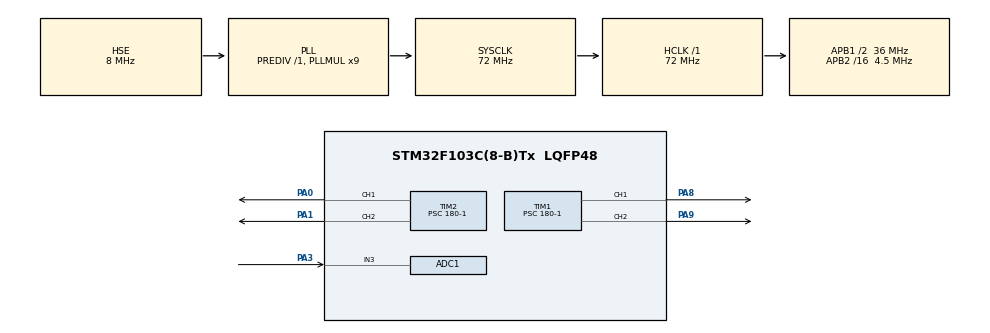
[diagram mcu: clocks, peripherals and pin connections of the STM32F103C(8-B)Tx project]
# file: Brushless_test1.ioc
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ADC1.Channel-0\#ChannelRegularConversion=ADC_CHANNEL_3
ADC1.ContinuousConvMode=ENABLE
ADC1.NbrOfConversion=1
ADC1.NbrOfConversionFlag=1
ADC1.Rank-0\#ChannelRegularConversion=1
ADC1.SamplingTime-0\#ChannelRegularConversion=ADC_SAMPLETIME_239CYCLES_5
ADC1.master=1
Dma.ADC1.0.Direction=DMA_PERIPH_TO_MEMORY
Dma.ADC1.0.Instance=DMA1_Channel1
Dma.ADC1.0.MemDataAlignment=DMA_MDATAALIGN_HALFWORD
Dma.ADC1.0.MemInc=DMA_MINC_ENABLE
Dma.ADC1.0.Mode=DMA_CIRCULAR
Dma.ADC1.0.PeriphDataAlignment=DMA_PDATAALIGN_HALFWORD
Dma.ADC1.0.PeriphInc=DMA_PINC_DISABLE
Dma.ADC1.0.Priority=DMA_PRIORITY_LOW
Dma.Request0=ADC1
Mcu.Family=STM32F1
Mcu.Name=STM32F103C(8-B)Tx
Mcu.Package=LQFP48
NVIC.DMA1_Channel1_IRQn=true\:0\:0\:false\:false\:true\:false\:true\:true
NVIC.PriorityGroup=NVIC_PRIORITYGROUP_4
NVIC.TIM4_IRQn=true\:0\:0\:false\:false\:true\:true\:true\:true
PA0-WKUP.Signal=S_TIM2_CH1_ETR
PA1.Signal=S_TIM2_CH2
PA13.Mode=Serial_Wire
PA13.Signal=SYS_JTMS-SWDIO
PA14.Mode=Serial_Wire
PA14.Signal=SYS_JTCK-SWCLK
PA3.Signal=ADCx_IN3
PA8.Signal=S_TIM1_CH1
PA9.Signal=S_TIM1_CH2
PD0-OSC_IN.Mode=HSE-External-Oscillator
PD0-OSC_IN.Signal=RCC_OSC_IN
PD1-OSC_OUT.Mode=HSE-External-Oscillator
PD1-OSC_OUT.Signal=RCC_OSC_OUT
ProjectManager.HeapSize=0x200
ProjectManager.StackSize=0x400
ProjectManager.TargetToolchain=STM32CubeIDE
RCC.AHBFreq_Value=72000000
RCC.APB1CLKDivider=RCC_HCLK_DIV2
RCC.APB1Freq_Value=36000000
RCC.APB1TimFreq_Value=72000000
RCC.APB2CLKDivider=RCC_HCLK_DIV16
RCC.APB2Freq_Value=4500000
RCC.APB2TimFreq_Value=9000000
RCC.HCLKFreq_Value=72000000
RCC.PLLMUL=RCC_PLL_MUL9
RCC.PLLSourceVirtual=RCC_PLLSOURCE_HSE
RCC.SYSCLKFreq_VALUE=72000000
RCC.SYSCLKSource=RCC_SYSCLKSOURCE_PLLCLK
RCC.USBFreq_Value=72000000
SH.ADCx_IN3.0=ADC1_IN3,IN3
SH.S_TIM1_CH1.0=TIM1_CH1,PWM Generation1 CH1
SH.S_TIM1_CH2.0=TIM1_CH2,PWM Generation2 CH2
SH.S_TIM2_CH1_ETR.0=TIM2_CH1,PWM Generation1 CH1
SH.S_TIM2_CH2.0=TIM2_CH2,PWM Generation2 CH2
TIM1.Channel-PWM\ Generation1\ CH1=TIM_CHANNEL_1
TIM1.Channel-PWM\ Generation2\ CH2=TIM_CHANNEL_2
TIM1.Period=1000-1
TIM1.Prescaler=180-1
TIM2.Channel-PWM\ Generation1\ CH1=TIM_CHANNEL_1
TIM2.Channel-PWM\ Generation2\ CH2=TIM_CHANNEL_2
TIM2.Period=1000-1
TIM2.Prescaler=180-1
TIM4.Period=9999
TIM4.Prescaler=71
VP_TIM4_VS_ClockSourceINT.Mode=Internal
board=custom

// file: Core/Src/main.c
/* USER CODE BEGIN Header */
/**
  ******************************************************************************
  * @file           : main.c
  * @brief          : Main program body
  ******************************************************************************
  * @attention
  *
  * Copyright (c) 2023 STMicroelectronics.
  * All rights reserved.
  *
  * This software is licensed under terms that can be found in the LICENSE file
  * in the root directory of this software component.
  * If no LICENSE file comes with this software, it is provided AS-IS.
  *
  ******************************************************************************
  */
/* USER CODE END Header */
#include "main.h"

/* USER CODE BEGIN PTD */
#define Calibrate 1
/* USER CODE END PTD */

ADC_HandleTypeDef hadc1;
DMA_HandleTypeDef hdma_adc1;

TIM_HandleTypeDef htim1;
TIM_HandleTypeDef htim2;
TIM_HandleTypeDef htim4;

void SystemClock_Config(void);
static void MX_GPIO_Init(void);
static void MX_DMA_Init(void);
static void MX_ADC1_Init(void);
static void MX_TIM1_Init(void);
static void MX_TIM2_Init(void);
static void MX_TIM4_Init(void);

/* USER CODE BEGIN 0 */
uint16_t ADC_Data=0;
int ADC_Converted = 0;
uint16_t speed;
long map(long x, long in_min, long in_max, long out_min, long out_max)
{
  return (x - in_min) * (out_max - out_min + 1) / (in_max - in_min + 1) + out_min;
}
void HAL_ADC_ConvCpltCallback(ADC_HandleTypeDef* hadc)
{
	ADC_Converted = map(ADC_Data, 0, 4095, 50, 100);
	TIM2->CCR1 = ADC_Converted;
	TIM2->CCR2 = 0;
}
/* USER CODE END 0 */

int main(void)
{

  /* MCU Configuration--------------------------------------------------------*/

  /* Reset of all peripherals, Initializes the Flash interface and the Systick. */
  HAL_Init();

  /* Configure the system clock */
  SystemClock_Config();

  /* Initialize all configured peripherals */
  MX_GPIO_Init();
  MX_DMA_Init();
  MX_ADC1_Init();
  MX_TIM1_Init();
  MX_TIM2_Init();
  MX_TIM4_Init();
  /* USER CODE BEGIN 2 */
  HAL_TIM_PWM_Start(&htim1, TIM_CHANNEL_1);
  HAL_TIM_PWM_Start(&htim1, TIM_CHANNEL_2);
  HAL_TIM_PWM_Start(&htim2, TIM_CHANNEL_1);
  HAL_TIM_PWM_Start(&htim2, TIM_CHANNEL_2);
  HAL_TIM_Base_Start_IT(&htim4);
#if Calibrate
  TIM2->CCR1 = 100;  // Set the maximum pulse (2ms)
  HAL_Delay (2000);  // wait for 1 beep
  TIM2->CCR1 = 50;   // Set the minimum Pulse (1ms)
  HAL_Delay (1000);  // wait for 2 beeps
  TIM2->CCR1 = 0;    // reset to 0, so it can be controlled via ADC
#endif
//  HAL_ADCEx_Calibration_Start(&hadc1);
  HAL_ADC_Start_DMA(&hadc1, (uint32_t *)&ADC_Data, 1);
  /* USER CODE END 2 */

  /* Infinite loop */
  while (1)
  {

  }
}

void SystemClock_Config(void)
{
  RCC_OscInitTypeDef RCC_OscInitStruct = {0};
  RCC_ClkInitTypeDef RCC_ClkInitStruct = {0};
  RCC_PeriphCLKInitTypeDef PeriphClkInit = {0};

  /** Initializes the RCC Oscillators according to the specified parameters
  * in the RCC_OscInitTypeDef structure.
  */
  RCC_OscInitStruct.OscillatorType = RCC_OSCILLATORTYPE_HSE;
  RCC_OscInitStruct.HSEState = RCC_HSE_ON;
  RCC_OscInitStruct.HSEPredivValue = RCC_HSE_PREDIV_DIV1;
  RCC_OscInitStruct.HSIState = RCC_HSI_ON;
  RCC_OscInitStruct.PLL.PLLState = RCC_PLL_ON;
  RCC_OscInitStruct.PLL.PLLSource = RCC_PLLSOURCE_HSE;
  RCC_OscInitStruct.PLL.PLLMUL = RCC_PLL_MUL9;
  if (HAL_RCC_OscConfig(&RCC_OscInitStruct) != HAL_OK)
  {
    Error_Handler();
  }

  /** Initializes the CPU, AHB and APB buses clocks
  */
  RCC_ClkInitStruct.ClockType = RCC_CLOCKTYPE_HCLK|RCC_CLOCKTYPE_SYSCLK
                              |RCC_CLOCKTYPE_PCLK1|RCC_CLOCKTYPE_PCLK2;
  RCC_ClkInitStruct.SYSCLKSource = RCC_SYSCLKSOURCE_PLLCLK;
  RCC_ClkInitStruct.AHBCLKDivider = RCC_SYSCLK_DIV1;
  RCC_ClkInitStruct.APB1CLKDivider = RCC_HCLK_DIV2;
  RCC_ClkInitStruct.APB2CLKDivider = RCC_HCLK_DIV16;

  if (HAL_RCC_ClockConfig(&RCC_ClkInitStruct, FLASH_LATENCY_2) != HAL_OK)
  {
    Error_Handler();
  }
  PeriphClkInit.PeriphClockSelection = RCC_PERIPHCLK_ADC;
  PeriphClkInit.AdcClockSelection = RCC_ADCPCLK2_DIV2;
  if (HAL_RCCEx_PeriphCLKConfig(&PeriphClkInit) != HAL_OK)
  {
    Error_Handler();
  }
}

static void MX_ADC1_Init(void)
{

  ADC_ChannelConfTypeDef sConfig = {0};

  /** Common config
  */
  hadc1.Instance = ADC1;
  hadc1.Init.ScanConvMode = ADC_SCAN_DISABLE;
  hadc1.Init.ContinuousConvMode = ENABLE;
  hadc1.Init.DiscontinuousConvMode = DISABLE;
  hadc1.Init.ExternalTrigConv = ADC_SOFTWARE_START;
  hadc1.Init.DataAlign = ADC_DATAALIGN_RIGHT;
  hadc1.Init.NbrOfConversion = 1;
  if (HAL_ADC_Init(&hadc1) != HAL_OK)
  {
    Error_Handler();
  }

  /** Configure Regular Channel
  */
  sConfig.Channel = ADC_CHANNEL_3;
  sConfig.Rank = ADC_REGULAR_RANK_1;
  sConfig.SamplingTime = ADC_SAMPLETIME_239CYCLES_5;
  if (HAL_ADC_ConfigChannel(&hadc1, &sConfig) != HAL_OK)
  {
    Error_Handler();
  }

}

static void MX_TIM1_Init(void)
{

  TIM_MasterConfigTypeDef sMasterConfig = {0};
  TIM_OC_InitTypeDef sConfigOC = {0};
  TIM_BreakDeadTimeConfigTypeDef sBreakDeadTimeConfig = {0};

  htim1.Instance = TIM1;
  htim1.Init.Prescaler = 180-1;
  htim1.Init.CounterMode = TIM_COUNTERMODE_UP;
  htim1.Init.Period = 1000-1;
  htim1.Init.ClockDivision = TIM_CLOCKDIVISION_DIV1;
  htim1.Init.RepetitionCounter = 0;
  htim1.Init.AutoReloadPreload = TIM_AUTORELOAD_PRELOAD_DISABLE;
  if (HAL_TIM_PWM_Init(&htim1) != HAL_OK)
  {
    Error_Handler();
  }
  sMasterConfig.MasterOutputTrigger = TIM_TRGO_RESET;
  sMasterConfig.MasterSlaveMode = TIM_MASTERSLAVEMODE_DISABLE;
  if (HAL_TIMEx_MasterConfigSynchronization(&htim1, &sMasterConfig) != HAL_OK)
  {
    Error_Handler();
  }
  sConfigOC.OCMode = TIM_OCMODE_PWM1;
  sConfigOC.Pulse = 0;
  sConfigOC.OCPolarity = TIM_OCPOLARITY_HIGH;
  sConfigOC.OCNPolarity = TIM_OCNPOLARITY_HIGH;
  sConfigOC.OCFastMode = TIM_OCFAST_DISABLE;
  sConfigOC.OCIdleState = TIM_OCIDLESTATE_RESET;
  sConfigOC.OCNIdleState = TIM_OCNIDLESTATE_RESET;
  if (HAL_TIM_PWM_ConfigChannel(&htim1, &sConfigOC, TIM_CHANNEL_1) != HAL_OK)
  {
    Error_Handler();
  }
  if (HAL_TIM_PWM_ConfigChannel(&htim1, &sConfigOC, TIM_CHANNEL_2) != HAL_OK)
  {
    Error_Handler();
  }
  sBreakDeadTimeConfig.OffStateRunMode = TIM_OSSR_DISABLE;
  sBreakDeadTimeConfig.OffStateIDLEMode = TIM_OSSI_DISABLE;
  sBreakDeadTimeConfig.LockLevel = TIM_LOCKLEVEL_OFF;
  sBreakDeadTimeConfig.DeadTime = 0;
  sBreakDeadTimeConfig.BreakState = TIM_BREAK_DISABLE;
  sBreakDeadTimeConfig.BreakPolarity = TIM_BREAKPOLARITY_HIGH;
  sBreakDeadTimeConfig.AutomaticOutput = TIM_AUTOMATICOUTPUT_DISABLE;
  if (HAL_TIMEx_ConfigBreakDeadTime(&htim1, &sBreakDeadTimeConfig) != HAL_OK)
  {
    Error_Handler();
  }
  HAL_TIM_MspPostInit(&htim1);

}

static void MX_TIM2_Init(void)
{

  TIM_MasterConfigTypeDef sMasterConfig = {0};
  TIM_OC_InitTypeDef sConfigOC = {0};

  htim2.Instance = TIM2;
  htim2.Init.Prescaler = 180-1;
  htim2.Init.CounterMode = TIM_COUNTERMODE_UP;
  htim2.Init.Period = 1000-1;
  htim2.Init.ClockDivision = TIM_CLOCKDIVISION_DIV1;
  htim2.Init.AutoReloadPreload = TIM_AUTORELOAD_PRELOAD_DISABLE;
  if (HAL_TIM_PWM_Init(&htim2) != HAL_OK)
  {
    Error_Handler();
  }
  sMasterConfig.MasterOutputTrigger = TIM_TRGO_RESET;
  sMasterConfig.MasterSlaveMode = TIM_MASTERSLAVEMODE_DISABLE;
  if (HAL_TIMEx_MasterConfigSynchronization(&htim2, &sMasterConfig) != HAL_OK)
  {
    Error_Handler();
  }
  sConfigOC.OCMode = TIM_OCMODE_PWM1;
  sConfigOC.Pulse = 0;
  sConfigOC.OCPolarity = TIM_OCPOLARITY_HIGH;
  sConfigOC.OCFastMode = TIM_OCFAST_DISABLE;
  if (HAL_TIM_PWM_ConfigChannel(&htim2, &sConfigOC, TIM_CHANNEL_1) != HAL_OK)
  {
    Error_Handler();
  }
  if (HAL_TIM_PWM_ConfigChannel(&htim2, &sConfigOC, TIM_CHANNEL_2) != HAL_OK)
  {
    Error_Handler();
  }
  HAL_TIM_MspPostInit(&htim2);

}

static void MX_TIM4_Init(void)
{

  TIM_ClockConfigTypeDef sClockSourceConfig = {0};
  TIM_MasterConfigTypeDef sMasterConfig = {0};

  htim4.Instance = TIM4;
  htim4.Init.Prescaler = 71;
  htim4.Init.CounterMode = TIM_COUNTERMODE_UP;
  htim4.Init.Period = 9999;
  htim4.Init.ClockDivision = TIM_CLOCKDIVISION_DIV1;
  htim4.Init.AutoReloadPreload = TIM_AUTORELOAD_PRELOAD_DISABLE;
  if (HAL_TIM_Base_Init(&htim4) != HAL_OK)
  {
    Error_Handler();
  }
  sClockSourceConfig.ClockSource = TIM_CLOCKSOURCE_INTERNAL;
  if (HAL_TIM_ConfigClockSource(&htim4, &sClockSourceConfig) != HAL_OK)
  {
    Error_Handler();
  }
  sMasterConfig.MasterOutputTrigger = TIM_TRGO_RESET;
  sMasterConfig.MasterSlaveMode = TIM_MASTERSLAVEMODE_DISABLE;
  if (HAL_TIMEx_MasterConfigSynchronization(&htim4, &sMasterConfig) != HAL_OK)
  {
    Error_Handler();
  }

}

static void MX_DMA_Init(void)
{

  /* DMA controller clock enable */
  __HAL_RCC_DMA1_CLK_ENABLE();

  /* DMA interrupt init */
  /* DMA1_Channel1_IRQn interrupt configuration */
  HAL_NVIC_SetPriority(DMA1_Channel1_IRQn, 0, 0);
  HAL_NVIC_EnableIRQ(DMA1_Channel1_IRQn);

}

static void MX_GPIO_Init(void)
{

  /* GPIO Ports Clock Enable */
  __HAL_RCC_GPIOD_CLK_ENABLE();
  __HAL_RCC_GPIOA_CLK_ENABLE();

}

/* USER CODE BEGIN 4 */
//void HAL_TIM_PeriodElapsedCallback(TIM_HandleTypeDef *htim)
//{
//	if (htim->Instance == TIM4)
//	{
//		ADC_Converted = map(speed, 0, 4095, 50, 100);
//		TIM2->CCR1 = ADC_Converted;
//		TIM2->CCR2 = 0;
//
//	}
//}

/* USER CODE END 4 */

void Error_Handler(void)
{
  __disable_irq();
  while (1)
  {
  }
}
